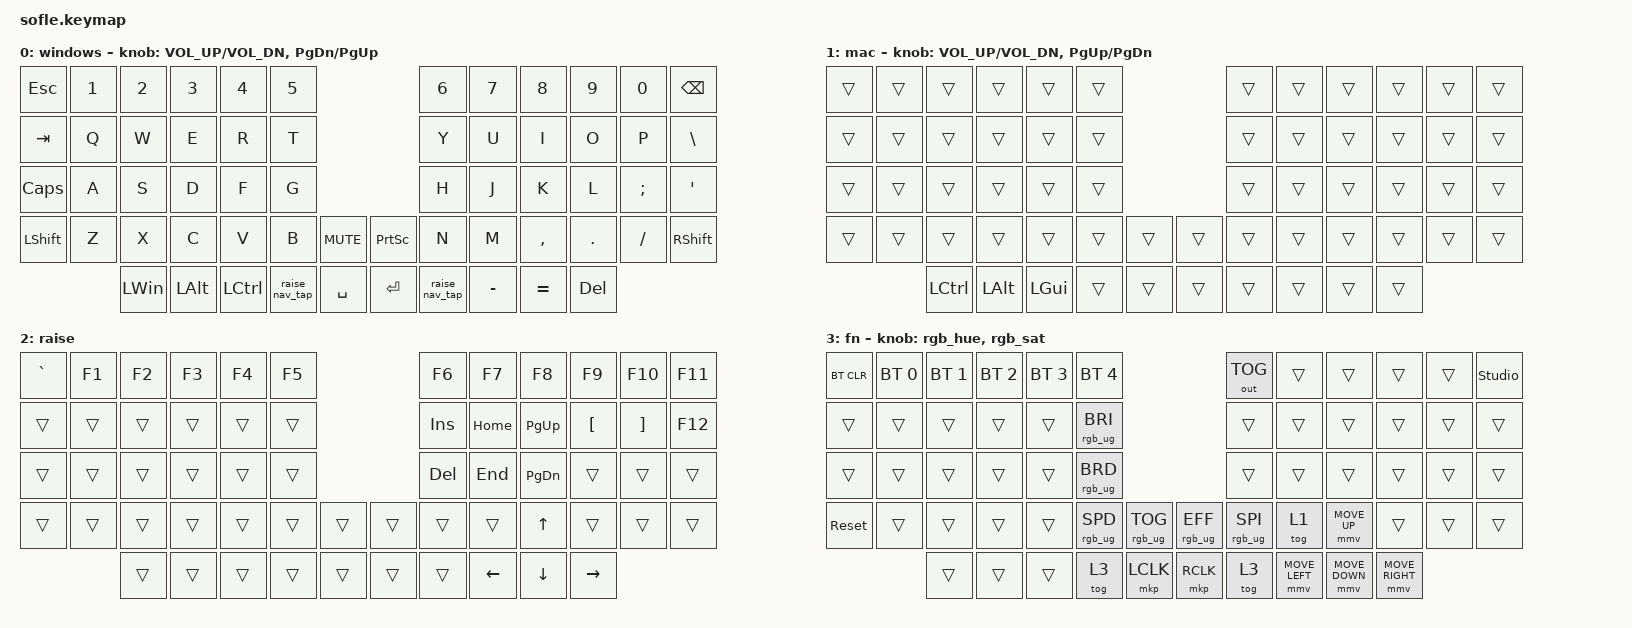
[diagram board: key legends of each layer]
/*
* Copyright (c) 2020 The ZMK Contributors
*
* SPDX-License-Identifier: MIT
*/

#include <behaviors.dtsi>
#include <dt-bindings/zmk/bt.h>
#include <dt-bindings/zmk/keys.h>
#include <dt-bindings/zmk/outputs.h>
#include <dt-bindings/zmk/pointing.h>
#include <dt-bindings/zmk/rgb.h>

/ {
    behaviors {
        rgb_hue: rgb_hue {
            compatible = "zmk,behavior-sensor-rotate";
            label = "RGB_HUE";
            #sensor-binding-cells = <0>;
            bindings = <&rgb_ug RGB_HUI>, <&rgb_ug RGB_HUD>;
        };

        rgb_sat: rgb_sat {
            compatible = "zmk,behavior-sensor-rotate";
            label = "RGB_SAT";
            #sensor-binding-cells = <0>;
            bindings = <&rgb_ug RGB_SAI>, <&rgb_ug RGB_SAD>;
        };

        raise_nav_tap: raise_nav_tap {
            compatible = "zmk,behavior-tap-dance";
            label = "RAISE_NAV_TAP";
            #binding-cells = <0>;
            bindings = <&mo 2>, <&tog 3>;

            tapping-term-ms = <200>;
        };
    };

    keymap {
        compatible = "zmk,keymap";

        windows {
            label = "windows";
            bindings = <
&kp ESCAPE  &kp N1  &kp N2        &kp N3        &kp N4     &kp N5                                         &kp N6          &kp N7     &kp N8     &kp N9      &kp N0    &kp BACKSPACE
&kp TAB     &kp Q   &kp W         &kp E         &kp R      &kp T                                          &kp Y           &kp U      &kp I      &kp O       &kp P     &kp BACKSLASH
&kp CLCK    &kp A   &kp S         &kp D         &kp F      &kp G                                          &kp H           &kp J      &kp K      &kp L       &kp SEMI  &kp SQT
&kp LSHFT   &kp Z   &kp X         &kp C         &kp V      &kp B           &kp C_MUTE    &kp PRINTSCREEN  &kp N           &kp M      &kp COMMA  &kp DOT     &kp FSLH  &kp RSHFT
                    &kp LEFT_WIN  &kp LEFT_ALT  &kp LCTRL  &raise_nav_tap  &kp SPACE     &kp ENTER        &raise_nav_tap  &kp MINUS  &kp EQUAL  &kp DELETE
            >;

            sensor-bindings =
                <&inc_dec_kp C_VOL_UP C_VOL_DN>,
                <&inc_dec_kp PG_DN PG_UP>;
        };

        mac {
            label = "mac";
            bindings = <
&trans  &trans  &trans            &trans        &trans        &trans                    &trans  &trans  &trans  &trans  &trans  &trans
&trans  &trans  &trans            &trans        &trans        &trans                    &trans  &trans  &trans  &trans  &trans  &trans
&trans  &trans  &trans            &trans        &trans        &trans                    &trans  &trans  &trans  &trans  &trans  &trans
&trans  &trans  &trans            &trans        &trans        &trans  &trans    &trans  &trans  &trans  &trans  &trans  &trans  &trans
                &kp LEFT_CONTROL  &kp LEFT_ALT  &kp LEFT_GUI  &trans  &trans    &trans  &trans  &trans  &trans  &trans
            >;

            sensor-bindings =
                <&inc_dec_kp C_VOL_UP C_VOL_DN>,
                <&inc_dec_kp PG_UP PG_DN>;
        };

        raise {
            label = "raise";
            bindings = <
&kp GRAVE  &kp F1  &kp F2  &kp F3  &kp F4  &kp F5                    &kp F6   &kp F7    &kp F8         &kp F9            &kp F10            &kp F11
&trans     &trans  &trans  &trans  &trans  &trans                    &kp INS  &kp HOME  &kp PAGE_UP    &kp LEFT_BRACKET  &kp RIGHT_BRACKET  &kp F12
&trans     &trans  &trans  &trans  &trans  &trans                    &kp DEL  &kp END   &kp PAGE_DOWN  &trans            &trans             &trans
&trans     &trans  &trans  &trans  &trans  &trans  &trans    &trans  &trans   &trans    &kp UP         &trans            &trans             &trans
                   &trans  &trans  &trans  &trans  &trans    &trans  &trans   &kp LEFT  &kp DOWN       &kp RIGHT
            >;
        };

        fn {
            bindings = <
&bt BT_CLR  &bt BT_SEL 0  &bt BT_SEL 1  &bt BT_SEL 2  &bt BT_SEL 3  &bt BT_SEL 4                                         &out OUT_TOG     &trans          &trans          &trans           &trans  &studio_unlock
&trans      &trans        &trans        &trans        &trans        &rgb_ug RGB_BRI                                      &trans           &trans          &trans          &trans           &trans  &trans
&trans      &trans        &trans        &trans        &trans        &rgb_ug RGB_BRD                                      &trans           &trans          &trans          &trans           &trans  &trans
&sys_reset  &trans        &trans        &trans        &trans        &rgb_ug RGB_SPD  &rgb_ug RGB_TOG    &rgb_ug RGB_EFF  &rgb_ug RGB_SPI  &tog 1          &mmv MOVE_UP    &trans           &trans  &trans
                          &trans        &trans        &trans        &tog 3           &mkp LCLK          &mkp RCLK        &tog 3           &mmv MOVE_LEFT  &mmv MOVE_DOWN  &mmv MOVE_RIGHT
            >;

            label = "fn";
            sensor-bindings = <&rgb_hue>, <&rgb_sat>;
        };
    };
};
